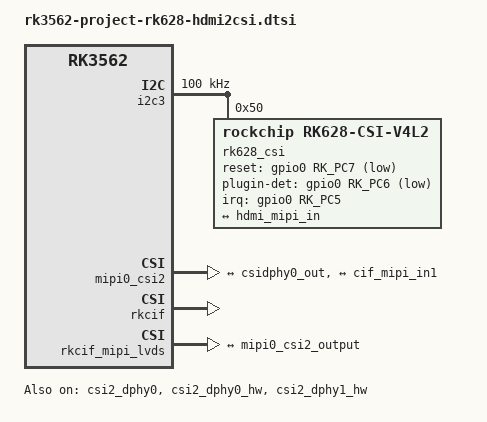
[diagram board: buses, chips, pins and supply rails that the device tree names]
// SPDX-License-Identifier: (GPL-2.0+ OR MIT)
/*
 * Copyright (c) 2025 Rockchip Electronics Co., Ltd.
 */

#include <dt-bindings/display/media-bus-format.h>

&csi2_dphy0 {
	status = "okay";

	ports {
		#address-cells = <1>;
		#size-cells = <0>;
		port@0 {
			reg = <0>;
			#address-cells = <1>;
			#size-cells = <0>;

			hdmi_mipi_in: endpoint@1 {
				reg = <1>;
				remote-endpoint = <&hdmiin_out>;
				data-lanes = <1 2 3 4>;
			};
		};
		port@1 {
			reg = <1>;
			#address-cells = <1>;
			#size-cells = <0>;

			csidphy0_out: endpoint@0 {
				reg = <0>;
				remote-endpoint = <&mipi0_csi2_input>;
			};
		};
	};
};

&csi2_dphy0_hw {
	status = "okay";
};

&csi2_dphy1_hw {
	status = "okay";
};

&i2c3 {
	clock-frequency = <100000>;
	pinctrl-0 = <&i2c3m1_xfer>;
	status = "okay";

	rk628_csi: rk628_csi@50 {
		reg = <0x50>;
		compatible = "rockchip,rk628-csi-v4l2";
		status = "okay";
		power-domains = <&power RK3562_PD_VI>;
		pinctrl-names = "default";
		pinctrl-0 = <&rk628_hdmiin_pin>;
		interrupt-parent = <&gpio0>;
		interrupts = <RK_PC5 IRQ_TYPE_LEVEL_HIGH>;
		reset-gpios = <&gpio0 RK_PC7 GPIO_ACTIVE_LOW>;
		plugin-det-gpios = <&gpio0 RK_PC6 GPIO_ACTIVE_LOW>;
		continues-clk = <1>;

		rockchip,camera-module-index = <0>;
		rockchip,camera-module-facing = "back";
		rockchip,camera-module-name = "HDMI-MIPI";
		rockchip,camera-module-lens-name = "RK628-CSI";

		multi-dev-info {
			dev-idx-l = <0>;
			dev-idx-r = <1>;
			combine-idx = <0>;
			pixel-offset = <0>;
			dev-num = <2>;
		};

		port {
			hdmiin_out: endpoint {
				remote-endpoint = <&hdmi_mipi_in>;
				data-lanes = <1 2 3 4>;
			};
		};
	};
};

&mipi0_csi2 {
	status = "okay";

	ports {
		#address-cells = <1>;
		#size-cells = <0>;

		port@0 {
			reg = <0>;
			#address-cells = <1>;
			#size-cells = <0>;

			mipi0_csi2_input: endpoint@1 {
				reg = <1>;
				remote-endpoint = <&csidphy0_out>;
			};
		};

		port@1 {
			reg = <1>;
			#address-cells = <1>;
			#size-cells = <0>;

			mipi0_csi2_output: endpoint@0 {
				reg = <0>;
				remote-endpoint = <&cif_mipi_in1>;
			};
		};
	};
};

&rkcif {
	status = "okay";
};

&rkcif_mipi_lvds {
	status = "okay";

	port {
		cif_mipi_in1: endpoint {
			remote-endpoint = <&mipi0_csi2_output>;
		};
	};
};

&rkcif_mmu {
	status = "okay";
};

&pinctrl {
	hdmiin {
		rk628_hdmiin_pin: rk628-hdmiin-pin {
			rockchip,pins = <0 RK_PC5 RK_FUNC_GPIO &pcfg_pull_none>,
					<0 RK_PC6 RK_FUNC_GPIO &pcfg_pull_none>,
					<0 RK_PC7 RK_FUNC_GPIO &pcfg_pull_none>;
		};
	};
};
